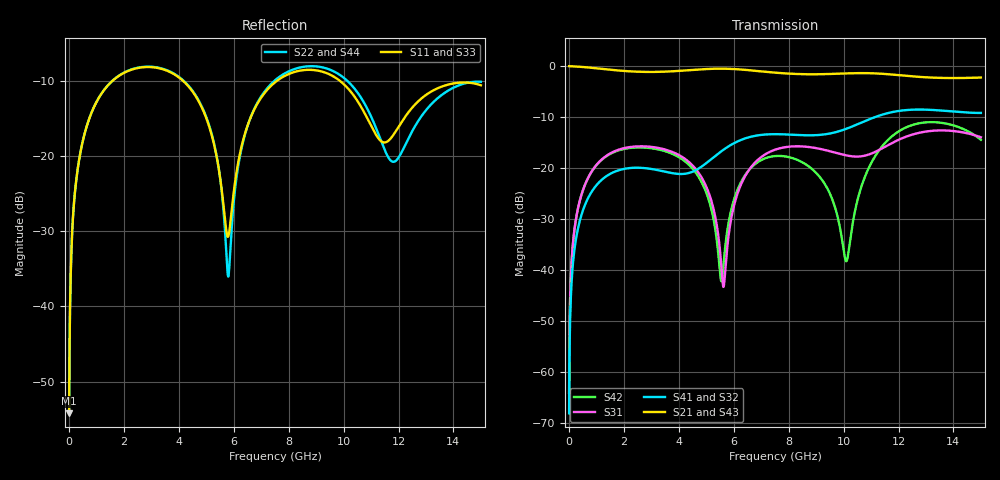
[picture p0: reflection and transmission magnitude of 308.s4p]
! Created with skrf 1.8.0 (http://scikit-rf.org).
# GHz S RI R 50.0
!freq ReS11 ImS11 ReS12 ImS12 ReS13 ImS13
! ReS14 ImS14
! ReS21 ImS21 ReS22 ImS22 ReS23 ImS23
! ReS24 ImS24
! ReS31 ImS31 ReS32 ImS32 ReS33 ImS33
! ReS34 ImS34
! ReS41 ImS41 ReS42 ImS42 ReS43 ImS43
! ReS44 ImS44
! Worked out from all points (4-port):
!   2499 points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, 5 MHz to 15 GHz, reference 50 ohm
!   strongest paths, dB at 5 MHz, 3.476 GHz, 7.19 GHz, 11.1 GHz, 15 GHz:
!     S21: 0.0, -1.1, -1.1, -1.4, -2.2
!     S43: 0.0, -1.1, -1.1, -1.4, -2.3
!     S41: -68.0, -20.7, -13.4, -10.1, -9.2
!     S32: -68.0, -20.7, -13.4, -10.1, -9.2
!     S31: -64.0, -16.3, -17.1, -16.9, -13.9
!     S42: -64.0, -16.6, -18.0, -18.1, -14.4
!   lowest |S11| = -54.2 dB at 5 MHz (marker M1), VSWR 1.00, Z = 50.2 + j0.118 ohm
!   |S11| at or under -10 dB: start of sweep to 1.588 GHz; 4.15 GHz to 7.578 GHz (3.428 GHz wide, 58.5 % of centre); 9.861 GHz to end of sweep
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0.005  0.00155 0.00117  0.9984 -0.00301  7.78e-05 0.000624  -7.55e-05 -0.000389
       0.9984 -0.00301  0.00155 0.00117  -7.55e-05 -0.000389  7.77e-05 0.000624
       7.78e-05 0.000624  -7.55e-05 -0.000389  0.00155 0.00117  0.9984 -0.00301
       -7.55e-05 -0.000389  7.77e-05 0.000624  0.9984 -0.00301  0.00155 0.00117
0.3126303  0.0218 0.0777  0.9703 -0.1879  0.0103 0.0372  -0.00836 -0.0231
           0.9703 -0.1879  0.0219 0.0777  -0.00836 -0.0231  0.00983 0.0373
           0.0103 0.0372  -0.00836 -0.0231  0.0218 0.0777  0.9703 -0.1879
           -0.00836 -0.0231  0.00983 0.0373  0.9703 -0.1879  0.0219 0.0777
1.519383  0.245 0.1863  0.5995 -0.6983  0.124 0.0658  -0.0873 -0.0143
          0.5995 -0.6983  0.2469 0.1852  -0.0872 -0.0144  0.1181 0.0727
          0.124 0.0658  -0.0872 -0.0144  0.2451 0.1863  0.5995 -0.6983
          -0.0873 -0.0143  0.1181 0.0727  0.5995 -0.6983  0.2469 0.1852
5.802418  0.029 0.00346  -0.9386 -0.0643  0.000877 0.0208  -0.00503 0.163
          -0.9386 -0.0643  0.0158 0.000453  -0.00788 0.1629  0.012 0.0255
          0.000877 0.0208  -0.00788 0.1629  0.0264 0.00272  -0.9386 -0.0642
          -0.00503 0.163  0.012 0.0255  -0.9386 -0.0642  0.0185 -0.000122
9.016257  0.3699 -0.0202  0.0212 0.8317  0.0758 -0.1374  0.2055 -0.0469
          0.0212 0.8317  0.3922 -0.0346  0.206 -0.0417  0.0784 -0.0421
          0.0758 -0.1374  0.206 -0.0417  0.371 -0.0188  0.0221 0.8313
          0.2055 -0.0469  0.0784 -0.0421  0.0221 0.8313  0.3925 -0.0377
10.09796  0.2587 -0.1287  0.4627 0.7106  -0.0705 -0.1133  0.1994 -0.139
          0.4627 0.7106  0.2724 -0.1684  0.2034 -0.1334  -0.00937 -0.00788
          -0.0705 -0.1133  0.2034 -0.1334  0.2594 -0.1292  0.4633 0.7096
          0.1994 -0.139  -0.00937 -0.00788  0.4633 0.7096  0.2726 -0.1706
15  0.2861 -0.0719  0.025 -0.7723  0.1467 -0.1371  -0.3412 0.0673
    0.025 -0.7723  0.3074 -0.0483  -0.3416 0.0528  0.1696 -0.085
    0.1467 -0.1371  -0.3416 0.0528  0.2916 -0.0744  0.0214 -0.7711
    -0.3412 0.0673  0.1696 -0.085  0.0214 -0.7711  0.3079 -0.0498
